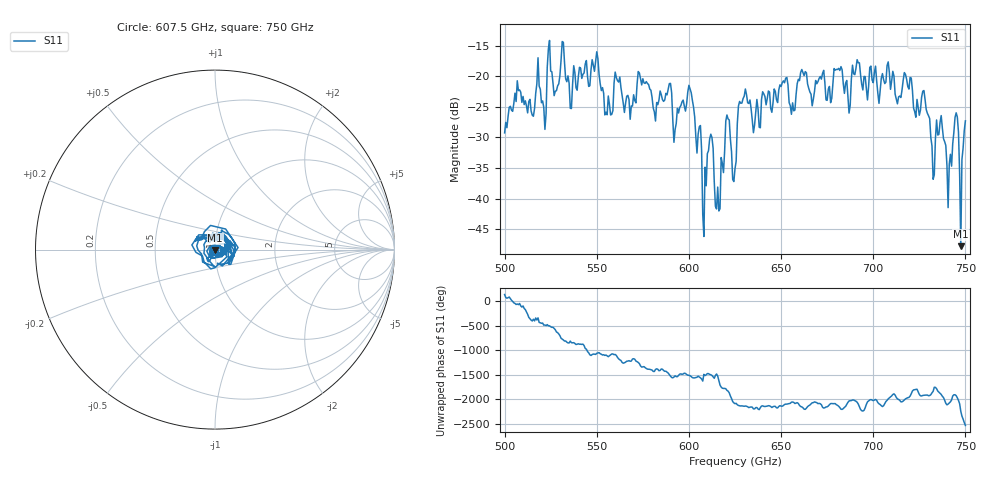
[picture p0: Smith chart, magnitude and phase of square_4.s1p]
!Created with skrf (http://scikit-rf.org).
# GHz S MA R 50.0
!freq magS11 angS11
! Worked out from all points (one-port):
!   401 points, 500 GHz to 750 GHz, reference 50 ohm
!   lowest |S11| = -47.8 dB at 747.5 GHz (marker M1), VSWR 1.01, Z = 50 - j0.406 ohm
!   |S11| at or under -10 dB: start of sweep to end of sweep
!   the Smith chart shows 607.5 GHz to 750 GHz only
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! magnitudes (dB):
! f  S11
! 500 GHz  -29.2
! 506.9 GHz  -20.7
! 521.2 GHz  -25.1
! 524.4 GHz  -14.1
! 528.1 GHz  -22.4
! 531.2 GHz  -14.3
! 535.6 GHz  -25.2
! 549.4 GHz  -17.6
! 562.5 GHz  -20.1
! 593.8 GHz  -25.2
! 600.6 GHz  -22.1
! 608.1 GHz  -46.2
! 611.9 GHz  -29.5
! 615.6 GHz  -38.1
! 620.6 GHz  -26.3
! 625 GHz  -35.1
! 630 GHz  -23.2
! 656.2 GHz  -24.3
! 661.9 GHz  -19.4
! 687.5 GHz  -24.7
! 718.8 GHz  -21.7
! 728.1 GHz  -23.8
! 732.5 GHz  -36.8
! 737.5 GHz  -28.4
! 741.2 GHz  -34.4
! 745 GHz  -26.0
! 747.5 GHz  -47.8
! 750 GHz  -27.3
